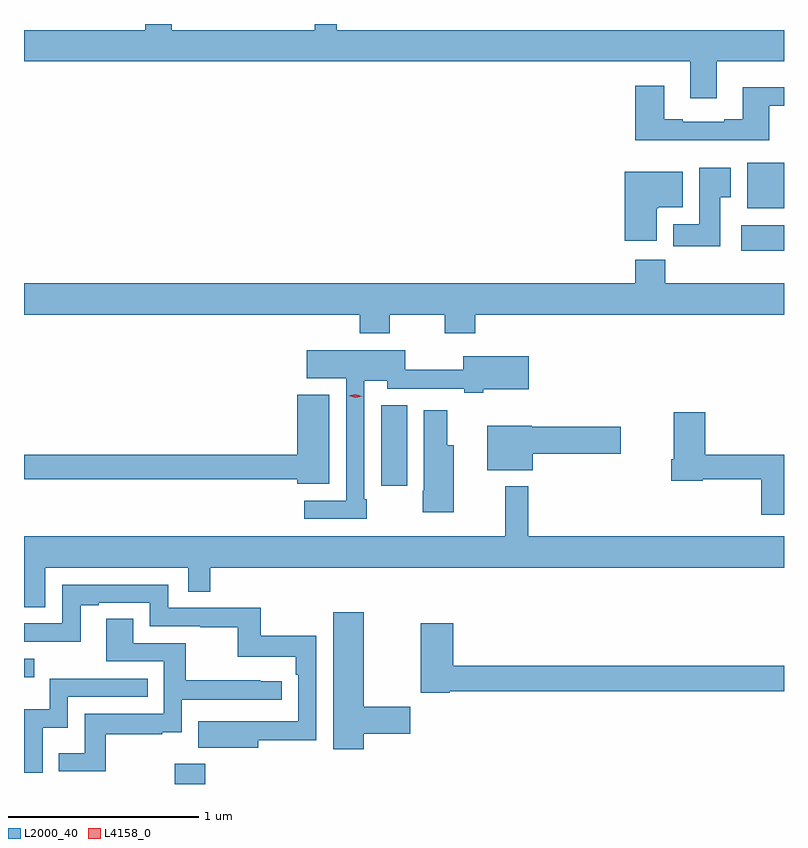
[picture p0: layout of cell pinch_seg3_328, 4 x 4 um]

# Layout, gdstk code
import gdstk
lib = gdstk.Library(unit=1e-6, precision=1e-09)
def R(c, l, rs):  # rectangles x0, y0, x1, y1
    for r in rs: c.add(gdstk.rectangle(r[:2], r[2:], *l))
def P(c, l, *ps):  # polygons
    for p in ps: c.add(gdstk.Polygon(p, *l))
L2000_40 = (2000, 40)
L4158_0 = (4158, 0)

pinch_seg3_328 = lib.new_cell('pinch_seg3_328')
R(pinch_seg3_328, L2000_40, [(973.684,718.425,973.844,718.531), (972.891,718.988,972.946,719.085), (974.771,719.994,974.908,720.419), (976.665,721.232,976.891,721.366), (976.697,721.454,976.891,721.696)])
P(pinch_seg3_328, L2000_40, [(976.537,722.228),(976.891,722.228),(976.891,722.392),(974.537,722.392),(974.537,722.425),(974.421,722.425),(974.421,722.392),(973.669,722.392),(973.669,722.425),(973.53,722.425),(973.53,722.392),(972.891,722.392),(972.891,722.228),(976.397,722.228),(976.397,722.034),(976.537,722.034)],
  [(976.813,721.995),(976.891,721.995),(976.891,722.092),(976.673,722.092),(976.673,721.924),(976.577,721.924),(976.577,721.911),(976.357,721.911),(976.357,721.924),(976.261,721.924),(976.261,722.101),(976.109,722.101),(976.109,721.814),(976.813,721.814)],
  [(976.555,721.513),(976.612,721.513),(976.612,721.669),(976.445,721.669),(976.445,721.372),(976.307,721.372),(976.307,721.254),(976.555,721.254)],
  [(976.222,721.454),(976.228,721.454),(976.228,721.46),(976.357,721.46),(976.357,721.648),(976.052,721.648),(976.052,721.284),(976.222,721.284)],
  [(974.817,720.896),(975.106,720.896),(975.106,720.797),(975.266,720.797),(975.266,720.896),(976.891,720.896),(976.891,721.06),(976.265,721.06),(976.265,721.184),(976.109,721.184),(976.109,721.06),(972.891,721.06),(972.891,720.896),(974.657,720.896),(974.657,720.797),(974.817,720.797)],
  [(974.695,719.923),(974.682,719.923),(974.682,720.548),(974.802,720.548),(974.802,720.504),(975.207,720.504),(975.207,720.484),(975.307,720.484),(975.307,720.503),(975.547,720.503),(975.547,720.676),(975.203,720.676),(975.203,720.605),(974.898,720.605),(974.898,720.709),(974.379,720.709),(974.379,720.56),(974.586,720.56),(974.586,719.916),(974.367,719.916),(974.367,719.82),(974.695,719.82)],
  [(974.497,720.475),(974.33,720.475),(974.33,720.158),(972.891,720.158),(972.891,720.03),(974.33,720.03),(974.33,720.005),(974.497,720.005)],
  [(975.154,720.208),(975.118,720.208),(975.118,720.391),(974.996,720.391),(974.996,719.968),(974.989,719.968),(974.989,719.856),(975.154,719.856)],
  [(976.891,720.158),(976.476,720.158),(976.476,720.382),(976.31,720.382),(976.31,720.133),(976.298,720.133),(976.298,720.022),(976.464,720.022),(976.464,720.03),(976.772,720.03),(976.772,719.843),(976.891,719.843)],
  [(975.568,720.163),(976.033,720.163),(976.033,720.305),(975.564,720.305),(975.564,720.31),(975.329,720.31),(975.329,720.077),(975.568,720.077)],
  [(973.003,719.564),(973.755,719.564),(973.755,719.437),(973.871,719.437),(973.871,719.564),(976.891,719.564),(976.891,719.728),(975.545,719.728),(975.545,719.992),(975.424,719.992),(975.424,719.728),(972.891,719.728),(972.891,719.356),(973.003,719.356)],
  [(974.125,718.654),(974.43,718.654),(974.43,719.206),(974.137,719.206),(974.137,719.352),(973.65,719.352),(973.65,719.475),(973.092,719.475),(973.092,719.271),(972.891,719.271),(972.891,719.175),(972.984,719.175),(972.984,719.174),(973.189,719.174),(973.189,719.367),(973.285,719.367),(973.285,719.379),(973.554,719.379),(973.554,719.256),(973.819,719.256),(973.819,719.251),(974.016,719.251),(974.016,719.096),(974.321,719.096),(974.321,719),(974.334,719),(974.334,718.755),(974.021,718.755),(974.021,718.756),(973.807,718.756),(973.807,718.616),(974.125,718.616)],
  [(974.68,718.69),(974.923,718.69),(974.923,718.832),(974.68,718.832),(974.68,719.329),(974.519,719.329),(974.519,718.608),(974.68,718.608)],
  [(973.321,718.686),(973.619,718.686),(973.619,718.697),(973.722,718.697),(973.722,718.869),(974.248,718.869),(974.248,718.965),(974.135,718.965),(974.135,718.97),(973.742,718.97),(973.742,719.166),(973.465,719.166),(973.465,719.294),(973.325,719.294),(973.325,719.07),(973.626,719.07),(973.626,718.794),(973.21,718.794),(973.21,718.588),(973.075,718.588),(973.075,718.491),(973.321,718.491)],
  [(975.132,718.912),(976.891,718.912),(976.891,719.048),(975.149,719.048),(975.149,719.272),(974.978,719.272),(974.978,718.904),(975.132,718.904)],
  [(972.99,718.721),(973.122,718.721),(973.122,718.884),(973.541,718.884),(973.541,718.98),(973.026,718.98),(973.026,718.819),(972.893,718.819),(972.893,718.594),(972.891,718.594),(972.891,718.485),(972.99,718.485)])
P(pinch_seg3_328, L4158_0, [(974.635,720.457),(974.6,720.468),(974.6,720.468),(974.6,720.468),(974.635,720.477),(974.67,720.467),(974.67,720.467),(974.67,720.466)])

lib.write_gds('pinch_seg3_328.gds')
